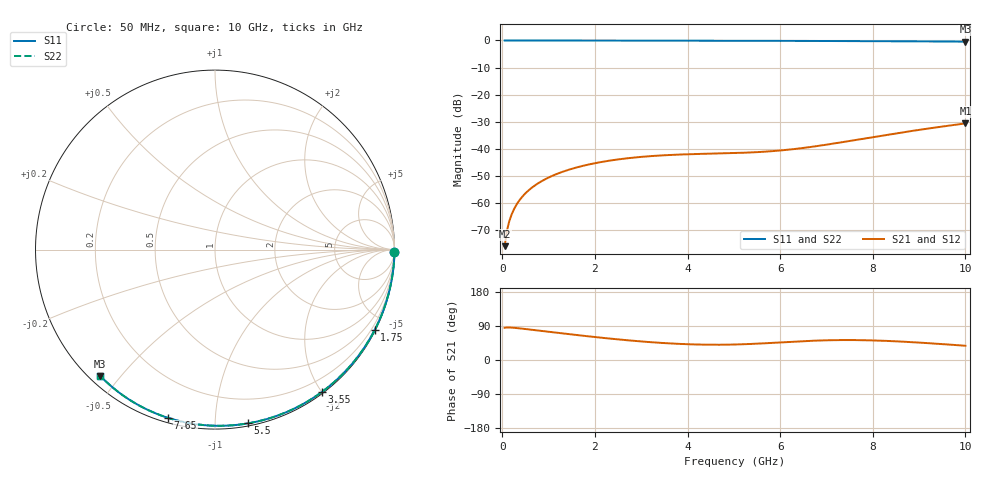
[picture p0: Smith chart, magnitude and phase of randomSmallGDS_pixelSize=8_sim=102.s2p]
! freq	dB(S11)	phase(S11)	dB(S12)	phase(S12)
!  dB(S21)	phase(S21)	dB(S22)	phase(S22)
!S-par simulation data
#  GHz  S  DB  R 50
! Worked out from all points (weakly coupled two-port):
!   200 points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, 50 MHz to 10 GHz, reference 50 ohm
!   highest |S21| = -30.66 dB at 10 GHz (marker M1); lowest = -76.0 dB at 50 MHz (marker M2)
!   lowest |S11| = -0.4 dB at 10 GHz (marker M3), VSWR 39.62, Z = 1.51 - j22.1 ohm
!   |S11| at or under -10 dB: nowhere
!   |S22| runs from -0.4 to 0.0 dB; largest |S21 - S12| = 0
!   S11 on the Smith chart (normalised r, x): 50 MHz: open; 1.75 GHz: 0.04, -4.20; 3.55 GHz: 0.02, -2.01; 5.5 GHz: 0.02, -1.21; 7.65 GHz: 0.02, -0.76; 10 GHz: 0.03, -0.44
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0.05  -0.00 -0.8  -76.02 85.1  -76.02 85.1  -0.00 -0.8
0.1  -0.00 -1.6  -70.28 85.8  -70.28 85.8  -0.00 -1.6
0.15  -0.00 -2.3  -66.83 85.8  -66.83 85.8  -0.00 -2.3
0.2  -0.00 -3.1  -64.36 85.5  -64.36 85.5  -0.00 -3.1
0.25  -0.00 -3.9  -62.44 85.0  -62.44 85.0  -0.00 -3.9
0.35  -0.00 -5.4  -59.55 83.8  -59.55 83.8  -0.00 -5.4
0.5  -0.01 -7.8  -56.49 81.8  -56.49 81.8  -0.01 -7.8
0.7  -0.01 -10.8  -53.62 78.9  -53.62 78.9  -0.01 -10.8
1  -0.02 -15.4  -50.65 74.5  -50.65 74.5  -0.02 -15.4
1.35  -0.03 -20.8  -48.24 69.5  -48.24 69.5  -0.03 -20.8
1.75  -0.03 -26.8  -46.29 63.9  -46.29 63.9  -0.03 -26.8
2.5  -0.05 -37.9  -43.96 54.4  -43.96 54.4  -0.05 -37.9
3.4  -0.07 -50.9  -42.52 45.4  -42.52 45.4  -0.07 -50.9
3.55  -0.07 -53.0  -42.38 44.3  -42.38 44.3  -0.07 -53.0
4.3  -0.09 -63.4  -41.91 40.6  -41.91 40.6  -0.09 -63.4
5.05  -0.11 -73.4  -41.59 41.0  -41.59 41.0  -0.11 -73.5
5.5  -0.13 -79.3  -41.27 43.1  -41.27 43.1  -0.13 -79.3
6.05  -0.15 -86.3  -40.58 46.8  -40.58 46.8  -0.15 -86.3
6.7  -0.18 -94.3  -39.27 50.8  -39.27 50.8  -0.18 -94.3
7.65  -0.24 -105.6  -36.72 52.5  -36.72 52.5  -0.24 -105.7
8.35  -0.29 -113.7  -34.76 50.1  -34.76 50.1  -0.29 -113.8
10  -0.44 -132.2  -30.66 37.6  -30.66 37.6  -0.44 -132.3
